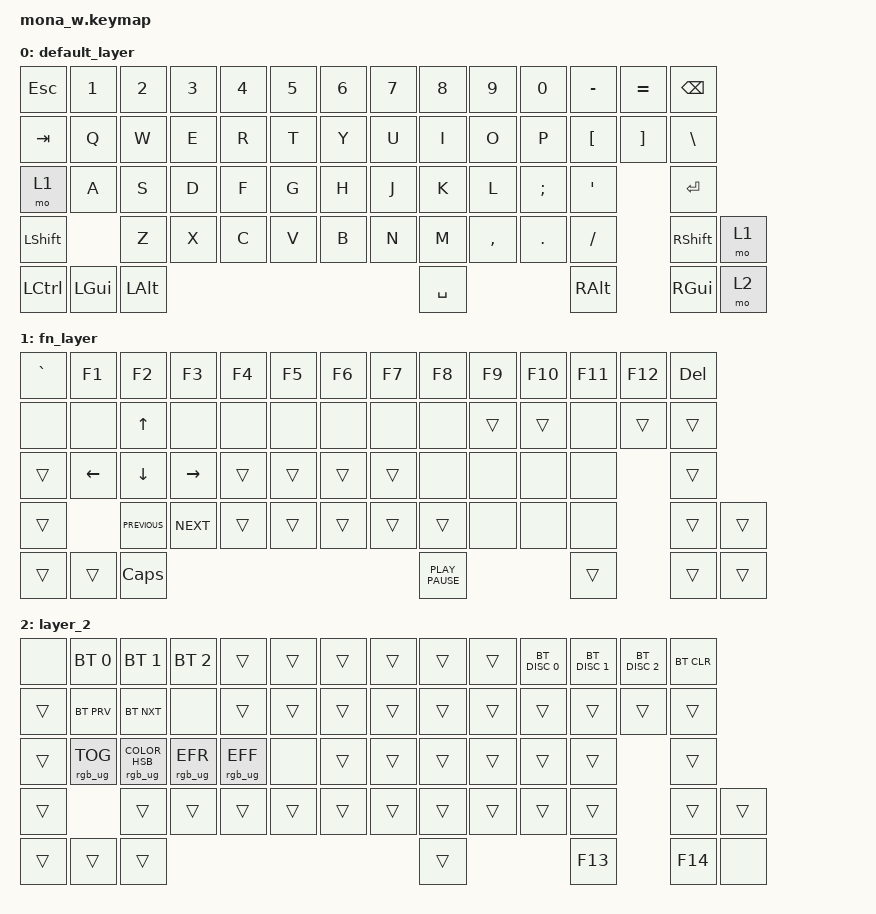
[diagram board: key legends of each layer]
/*
 * Copyright (c) 2023 Ramon Imbao
 *
 * SPDX-License-Identifier: MIT
 */

#include <behaviors.dtsi>
#include <dt-bindings/zmk/bt.h>
#include <dt-bindings/zmk/keys.h>
#include <dt-bindings/zmk/rgb.h>

/ {
    keymap {
        compatible = "zmk,keymap";

        default_layer {
            bindings = <
&kp ESC    &kp N1    &kp N2    &kp N3  &kp N4  &kp N5  &kp N6  &kp N7  &kp N8     &kp N9     &kp N0    &kp MINUS  &kp EQUAL  &kp BSPC
&kp TAB    &kp Q     &kp W     &kp E   &kp R   &kp T   &kp Y   &kp U   &kp I      &kp O      &kp P     &kp LBKT   &kp RBKT              &kp BSLH
&mo 1      &kp A     &kp S     &kp D   &kp F   &kp G   &kp H   &kp J   &kp K      &kp L      &kp SEMI  &kp APOS              &kp ENTER
&kp LSHFT            &kp Z     &kp X   &kp C   &kp V   &kp B   &kp N   &kp M      &kp COMMA  &kp DOT   &kp SLASH             &kp RSHFT  &mo 1
&kp LCTRL  &kp LGUI  &kp LALT                                          &kp SPACE                       &kp RALT              &kp RGUI   &mo 2
            >;
        };

        fn_layer {
            bindings = <
&kp GRAVE  &kp F1          &kp F2          &kp F3           &kp F4  &kp F5  &kp F6  &kp F7  &kp F8            &kp F9  &kp F10  &kp F11  &kp F12  &kp DELETE
&none      &none           &kp UP_ARROW    &none            &none   &none   &none   &none   &none             &trans  &trans   &none    &trans               &trans
&trans     &kp LEFT_ARROW  &kp DOWN_ARROW  &kp RIGHT_ARROW  &trans  &trans  &trans  &trans  &none             &none   &none    &none             &trans
&trans                     &kp K_PREVIOUS  &kp K_NEXT       &trans  &trans  &trans  &trans  &trans            &none   &none    &none             &trans      &trans
&trans     &trans          &kp CAPS                                                         &kp K_PLAY_PAUSE                   &trans            &trans      &trans
            >;
        };

        layer_2 {
            bindings = <
&none   &bt BT_SEL 0     &bt BT_SEL 1                    &bt BT_SEL 2     &trans           &trans  &trans  &trans  &trans  &trans  &bt BT_DISC 0  &bt BT_DISC 1  &bt BT_DISC 2  &bt BT_CLR
&trans  &bt BT_PRV       &bt BT_NXT                      &none            &trans           &trans  &trans  &trans  &trans  &trans  &trans         &trans         &trans                     &trans
&trans  &rgb_ug RGB_TOG  &rgb_ug RGB_COLOR_HSB(222,0,0)  &rgb_ug RGB_EFR  &rgb_ug RGB_EFF  &none   &trans  &trans  &trans  &trans  &trans         &trans                        &trans
&trans                   &trans                          &trans           &trans           &trans  &trans  &trans  &trans  &trans  &trans         &trans                        &trans      &trans
&trans  &trans           &trans                                                                                    &trans                         &kp F13                       &kp F14     &none
            >;
        };
    };
};
